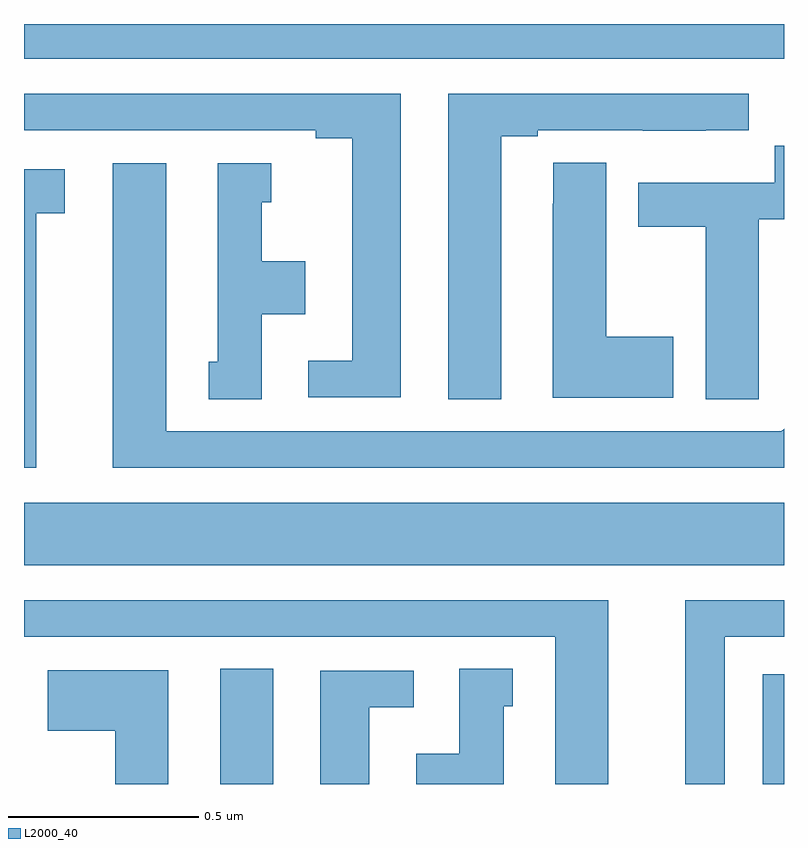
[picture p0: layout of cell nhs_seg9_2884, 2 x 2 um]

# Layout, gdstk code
import gdstk
lib = gdstk.Library(unit=1e-6, precision=1e-09)
def R(c, l, rs):  # rectangles x0, y0, x1, y1
    for r in rs: c.add(gdstk.rectangle(r[:2], r[2:], *l))
def P(c, l, *ps):  # polygons
    for p in ps: c.add(gdstk.Polygon(p, *l))
L2000_40 = (2000, 40)

nhs_seg9_2884 = lib.new_cell('nhs_seg9_2884')
R(nhs_seg9_2884, L2000_40, [(146.516,1206.5,146.656,1206.803), (147.944,1206.5,148,1206.789), (146,1207.076,148,1207.24), (146,1208.408,148,1208.5)])
P(nhs_seg9_2884, L2000_40, [(147.256,1208.205),(147.352,1208.205),(147.352,1208.22),(147.628,1208.22),(147.628,1208.219),(147.794,1208.219),(147.794,1208.22),(147.907,1208.22),(147.907,1208.316),(147.116,1208.316),(147.116,1207.513),(147.256,1207.513)],
  [(146.992,1208.316),(146,1208.316),(146,1208.22),(146.768,1208.22),(146.768,1208.2),(146.864,1208.2),(146.864,1207.614),(146.748,1207.614),(146.748,1207.518),(146.992,1207.518)],
  [(147.933,1207.624),(147.934,1207.624),(147.934,1207.986),(148,1207.986),(148,1208.179),(147.976,1208.179),(147.976,1208.082),(147.617,1208.082),(147.617,1207.966),(147.794,1207.966),(147.794,1207.513),(147.933,1207.513)],
  [(147.709,1207.677),(147.532,1207.677),(147.532,1208.135),(147.393,1208.135),(147.393,1208.027),(147.392,1208.027),(147.392,1207.517),(147.709,1207.517)],
  [(146.626,1207.736),(146.74,1207.736),(146.74,1207.876),(146.626,1207.876),(146.626,1208.031),(146.65,1208.031),(146.65,1208.134),(146.51,1208.134),(146.51,1207.611),(146.486,1207.611),(146.486,1207.513),(146.626,1207.513)],
  [(148,1207.435),(147.993,1207.428),(146.374,1207.428),(146.374,1208.134),(146.234,1208.134),(146.234,1207.332),(148,1207.332)],
  [(146.032,1208.002),(146.107,1208.002),(146.107,1208.118),(146,1208.118),(146,1207.332),(146.032,1207.332)],
  [(147.538,1206.984),(146,1206.984),(146,1206.888),(147.398,1206.888),(147.398,1206.5),(147.538,1206.5)],
  [(147.844,1206.888),(148,1206.888),(148,1206.984),(147.74,1206.984),(147.74,1206.5),(147.844,1206.5)],
  [(147.262,1206.705),(147.286,1206.705),(147.286,1206.803),(147.146,1206.803),(147.146,1206.58),(147.032,1206.58),(147.032,1206.5),(147.262,1206.5)],
  [(146.38,1206.799),(146.063,1206.799),(146.063,1206.64),(146.24,1206.64),(146.24,1206.5),(146.38,1206.5)],
  [(146.908,1206.702),(147.025,1206.702),(147.025,1206.798),(146.78,1206.798),(146.78,1206.5),(146.908,1206.5)])

lib.write_gds('nhs_seg9_2884.gds')
